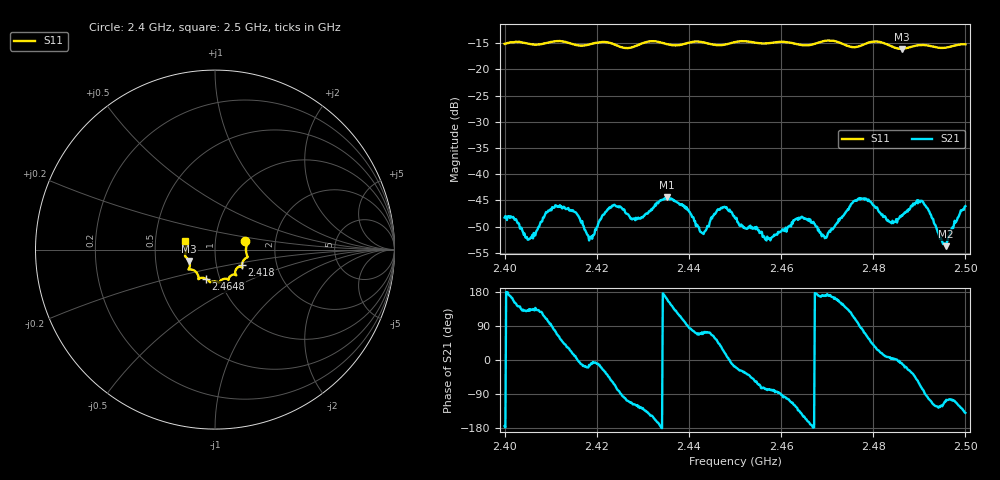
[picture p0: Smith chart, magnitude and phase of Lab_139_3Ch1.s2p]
# Hz S RI R 50
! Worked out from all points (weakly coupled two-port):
!   601 points, 2.4 GHz to 2.5 GHz, reference 50 ohm
!   highest |S21| = -44.40 dB at 2.4352 GHz (marker M1); lowest = -53.8 dB at 2.4958 GHz (marker M2)
!   lowest |S11| = -16.1 dB at 2.4862 GHz (marker M3), VSWR 1.37, Z = 37.1 - j4.8 ohm
!   |S11| at or under -10 dB: start of sweep to end of sweep
!   S12 and S22 are empty: the file has one direction only
!   S11 on the Smith chart (normalised r, x): 2.4 GHz: 1.40, +0.13; 2.418 GHz: 1.33, -0.23; 2.4648 GHz: 0.86, -0.29; 2.5 GHz: 0.71, +0.07
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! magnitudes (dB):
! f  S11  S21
! 2.4 GHz  -15.1  -48.3
! 2.4052 GHz  -15.1  -52.5
! 2.4108 GHz  -14.6  -46.4
! 2.4167 GHz  -15.5  -49.3
! 2.418 GHz  -15.3  -51.6
! 2.4235 GHz  -15.1  -46.1
! 2.4282 GHz  -15.6  -48.5
! 2.4333 GHz  -14.7  -45.6
! 2.4352 GHz  -15.2  -44.4
! 2.4428 GHz  -14.8  -51.2
! 2.4473 GHz  -15.3  -46.3
! 2.45 GHz  -14.8  -48.4
! 2.4572 GHz  -15.0  -52.2
! 2.4648 GHz  -15.4  -48.3
! 2.4667 GHz  -15.3  -49.2
! 2.4697 GHz  -14.5  -52.0
! 2.4775 GHz  -15.4  -44.6
! 2.4833 GHz  -15.3  -49.0
! 2.4862 GHz  -16.1  -47.8
! 2.4903 GHz  -15.3  -45.1
! 2.4958 GHz  -15.8  -53.8
! 2.5 GHz  -15.2  -46.1
